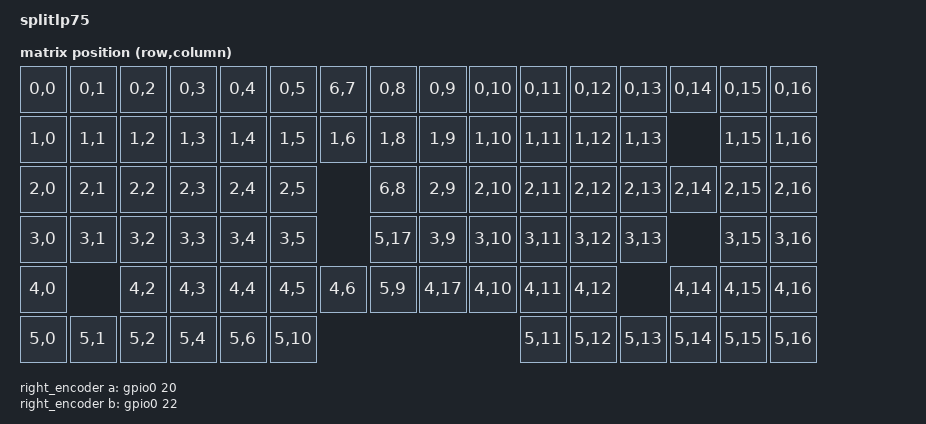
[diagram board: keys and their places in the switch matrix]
/*
*
* Copyright (c) 2021 Darryl deHaan
* SPDX-License-Identifier: MIT
*
*/

/dts-v1/;
#include <nordic/nrf52840_qiaa.dtsi>

#include <dt-bindings/led/led.h>
#include <dt-bindings/zmk/matrix_transform.h>

#include "splitlp75-pinctrl.dtsi"

/ {
    model = "splitlp75";
    compatible = "cannonkeys,splitlp75";

    chosen {
        zephyr,code-partition = &code_partition;
        zephyr,sram = &sram0;
        zephyr,flash = &flash0;
        zmk,battery = &vbatt;
        zmk,kscan = &kscan0;
        zmk,underglow = &led_strip;
        zmk,matrix_transform = &default_transform;
    };
/* Note - RC(6,17) and RC(6,16) are impossible placeholders just to make the keymap work
   PCB error has RC(4,10) mapped to M and comma (both)
   PCB error also has RC(5,9) mapped to both space and N
*/
    default_transform: keymap_transform_0 {
        compatible = "zmk,matrix-transform";
        columns = <18>;
        rows = <7>;
        map = <
RC(0,0) RC(0,1) RC(0,2) RC(0,3) RC(0,4) RC(0,5) RC(6,7)    RC(0,8)  RC(0,9)  RC(0,10) RC(0,11) RC(0,12) RC(0,13) RC(0,14) RC(0,15) RC(0,16)
RC(1,0) RC(1,1) RC(1,2) RC(1,3) RC(1,4) RC(1,5) RC(1,6)    RC(1,8)  RC(1,9)  RC(1,10) RC(1,11) RC(1,12) RC(1,13)          RC(1,15) RC(1,16)
RC(2,0) RC(2,1) RC(2,2) RC(2,3) RC(2,4) RC(2,5)            RC(6,8)  RC(2,9)  RC(2,10) RC(2,11) RC(2,12) RC(2,13) RC(2,14) RC(2,15) RC(2,16)
RC(3,0) RC(3,1) RC(3,2) RC(3,3) RC(3,4) RC(3,5)            RC(5,17) RC(3,9)  RC(3,10) RC(3,11) RC(3,12) RC(3,13)          RC(3,15) RC(3,16)
RC(4,0)         RC(4,2) RC(4,3) RC(4,4) RC(4,5) RC(4,6)    RC(5,9)  RC(4,17) RC(4,10) RC(4,11) RC(4,12)          RC(4,14) RC(4,15) RC(4,16)
RC(5,0) RC(5,1) RC(5,2)         RC(5,4)         RC(5,6)             RC(5,10)           RC(5,11) RC(5,12) RC(5,13) RC(5,14) RC(5,15) RC(5,16)
        >;
    };

    vbatt: vbatt {
        compatible = "zmk,battery-nrf-vddh";
        label = "BATTERY";
    };

    right_encoder: encoder_right {
        compatible = "alps,ec11";
        a-gpios = <&gpio0 20 (GPIO_ACTIVE_HIGH | GPIO_PULL_UP)>;
        b-gpios = <&gpio0 22 (GPIO_ACTIVE_HIGH | GPIO_PULL_UP)>;
        steps = <48>;
        status = "disabled";
    };

    sensors: sensors {
        compatible = "zmk,keymap-sensors";
        sensors = <&right_encoder>;
        triggers-per-rotation = <12>;
    };

};


&adc {
    status = "okay";
};

&gpiote {
    status = "okay";
};

&gpio0 {
    status = "okay";
};

&gpio1 {
    status = "okay";
};

&spi3 {
    compatible = "nordic,nrf-spim";
    status = "okay";

    pinctrl-0 = <&spi3_default>;
    pinctrl-1 = <&spi3_sleep>;
    pinctrl-names = "default", "sleep";

    led_strip: ws2812@0 {
        compatible = "worldsemi,ws2812-spi";

        /* SPI */
        reg = <0>; /* ignored, but necessary for SPI bindings */
        spi-max-frequency = <4000000>;

        /* WS2812 */
        chain-length = <1>; /* number of LEDs */
        spi-one-frame = <0x70>;
        spi-zero-frame = <0x40>;
        color-mapping = <LED_COLOR_ID_GREEN
                         LED_COLOR_ID_RED
                         LED_COLOR_ID_BLUE>;
    };
};

zephyr_udc0: &usbd {
    status = "okay";
};

&flash0 {
    /*
     * For more information, see:
     * http://docs.zephyrproject.org/latest/devices/dts/flash_partitions.html
     */
    partitions {
        compatible = "fixed-partitions";
        #address-cells = <1>;
        #size-cells = <1>;

        sd_partition: partition@0 {
            label = "mbr";
            reg = <0x00000000 0x00001000>;
        };

        code_partition: partition@1000 {
            label = "code_partition";
            reg = <0x00001000 0x000d3000>;
        };

        /*
         * The flash starting at 0x000d4000 and ending at
         * 0x000f3fff is reserved for use by the application.
         */

        /*
         * Storage partition will be used by FCB/LittleFS/NVS
         * if enabled.
         */
        storage_partition: partition@d4000 {
            label = "storage";
            reg = <0x000d4000 0x00020000>;
        };

        boot_partition: partition@f4000 {
            label = "adafruit_boot";
            reg = <0x000f4000 0x0000c000>;
        };
    };
};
